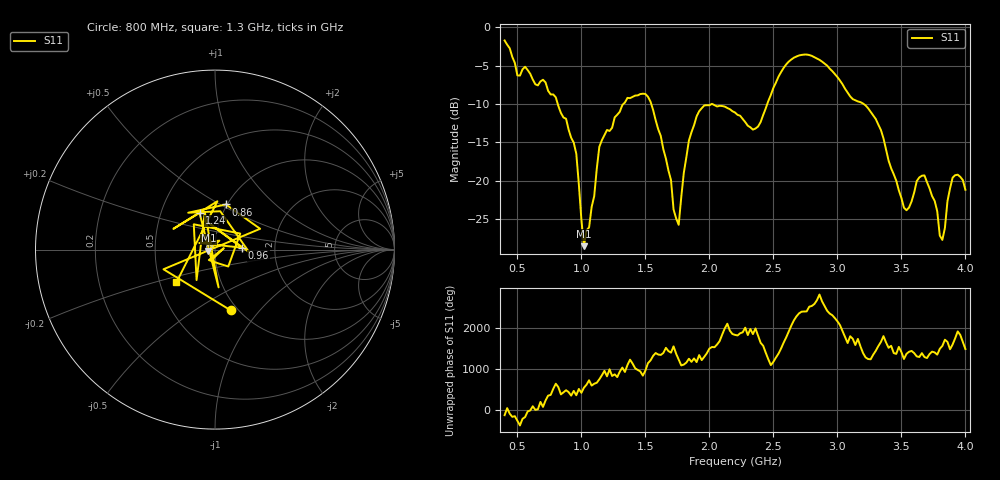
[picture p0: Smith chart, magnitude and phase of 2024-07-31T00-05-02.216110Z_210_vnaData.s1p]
!Created with skrf (http://scikit-rf.org).
# Hz S RI R 50.0
!freq ReS11 ImS11
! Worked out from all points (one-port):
!   181 points, 400 MHz to 4 GHz, reference 50 ohm
!   lowest |S11| = -28.5 dB at 1.02 GHz (marker M1), VSWR 1.08, Z = 46.4 - j0.575 ohm
!   |S11| at or under -10 dB: 815.6 MHz to 1.327 GHz (511.3 MHz wide, 47.7 % of centre); 1.546 GHz to 2.016 GHz (470 MHz wide, 26.4 % of centre); 3.207 GHz to end of sweep (the widest 3 of 4)
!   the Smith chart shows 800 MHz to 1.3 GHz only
!   S11 on the Smith chart (normalised r, x): 800 MHz: 0.93, -0.72; 860 MHz: 0.99, +0.53; 960 MHz: 1.35, +0.03; 1.24 GHz: 0.78, +0.33; 1.3 GHz: 0.61, -0.24
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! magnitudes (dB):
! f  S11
! 400 MHz  -1.7
! 500 MHz  -6.3
! 560 MHz  -5.1
! 800 MHz  -9.1
! 860 MHz  -11.7
! 960 MHz  -16.5
! 1.02 GHz  -28.5
! 1.1 GHz  -22.0
! 1.14 GHz  -15.6
! 1.24 GHz  -13.1
! 1.3 GHz  -11.0
! 1.54 GHz  -9.7
! 1.76 GHz  -25.7
! 1.84 GHz  -14.7
! 1.92 GHz  -10.9
! 2.2 GHz  -11.1
! 2.38 GHz  -12.9
! 2.66 GHz  -3.9
! 2.86 GHz  -4.2
! 3.1 GHz  -9.0
! 3.3 GHz  -11.9
! 3.52 GHz  -23.5
! 3.56 GHz  -23.5
! 3.68 GHz  -19.3
! 3.76 GHz  -22.6
! 3.82 GHz  -27.7
! 3.9 GHz  -19.6
! 4 GHz  -21.2
